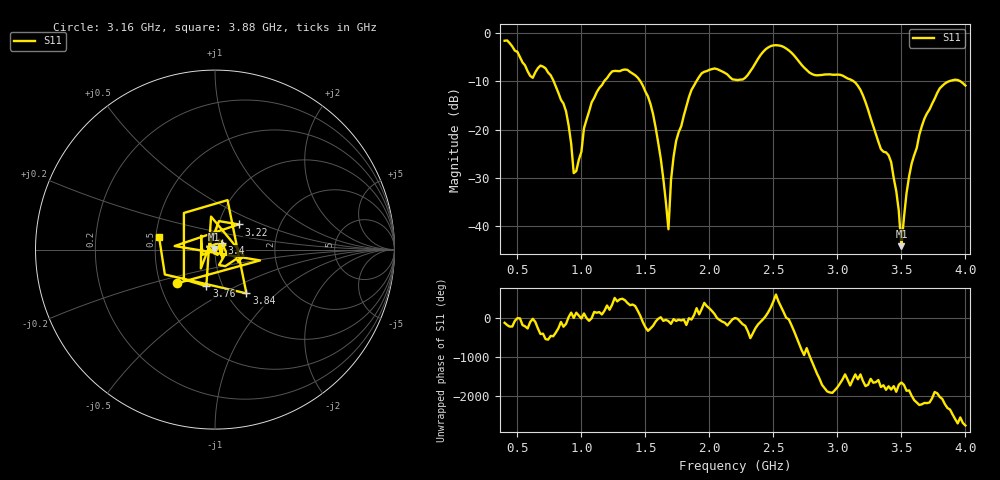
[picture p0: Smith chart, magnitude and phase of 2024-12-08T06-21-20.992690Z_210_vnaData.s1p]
!Created with skrf (http://scikit-rf.org).
# Hz S RI R 50.0
!freq ReS11 ImS11
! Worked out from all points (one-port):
!   181 points, 400 MHz to 4 GHz, reference 50 ohm
!   lowest |S11| = -44.1 dB at 3.5 GHz (marker M1), VSWR 1.01, Z = 49.5 + j0.395 ohm
!   |S11| at or under -10 dB: 783.4 MHz to 1.177 GHz (394 MHz wide, 40.2 % of centre); 1.461 GHz to 1.898 GHz (437.2 MHz wide, 26 % of centre); 3.127 GHz to 3.871 GHz (744.8 MHz wide, 21.3 % of centre) (the widest 3 of 4)
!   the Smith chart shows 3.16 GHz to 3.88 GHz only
!   S11 on the Smith chart (normalised r, x): 3.16 GHz: 0.61, -0.25; 3.22 GHz: 1.24, +0.36; 3.4 GHz: 1.08, +0.08; 3.76 GHz: 0.84, -0.36; 3.84 GHz: 1.23, -0.66; 3.88 GHz: 0.52, +0.08
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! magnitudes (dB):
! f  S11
! 400 MHz  -1.6
! 620 MHz  -9.3
! 720 MHz  -7.3
! 860 MHz  -14.6
! 900 MHz  -19.1
! 940 MHz  -29.0
! 1.08 GHz  -14.4
! 1.3 GHz  -7.9
! 1.54 GHz  -14.7
! 1.62 GHz  -26.0
! 1.68 GHz  -40.6
! 1.7 GHz  -30.4
! 1.76 GHz  -20.5
! 1.94 GHz  -8.3
! 2.2 GHz  -9.7
! 2.48 GHz  -2.7
! 2.66 GHz  -4.6
! 3.1 GHz  -9.6
! 3.16 GHz  -10.9
! 3.22 GHz  -14.3
! 3.4 GHz  -25.3
! 3.46 GHz  -32.7
! 3.5 GHz  -44.1
! 3.56 GHz  -29.7
! 3.76 GHz  -13.6
! 3.84 GHz  -10.5
! 3.88 GHz  -9.9
! 4 GHz  -10.9
